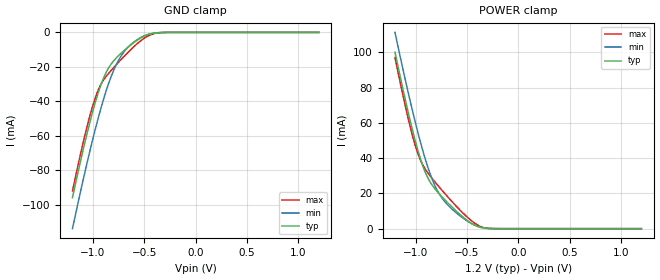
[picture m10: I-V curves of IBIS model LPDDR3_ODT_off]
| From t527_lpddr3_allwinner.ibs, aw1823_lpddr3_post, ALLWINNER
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|   Model LPDDR3_ODT_off
[Model] LPDDR3_ODT_off
Model_type Input
Polarity   Non-Inverting
Vinl =  0.600V
Vinh =  0.600V
C_comp   1.970pF   1.929pF   2.026pF
C_comp_pullup   1.247pF   1.225pF   1.255pF
C_comp_pulldown   0.603pF   0.485pF   0.766pF
[Model Spec]
Vinh   0.600V   0.570V   0.630V
Vinl   0.600V   0.570V   0.630V
[Temperature Range]   25.000   0.125k   -40.000
[Voltage Range]   1.200V   1.140V   1.260V
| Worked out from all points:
|   GND clamp passes 1 mA (typ) near -0.45 V on its own axis
|   POWER clamp passes 1 mA (typ) near -0.38 V on its own axis
[GND_clamp]
|Voltage   I(typ)   I(min)   I(max)
-1.2V     -95.73mA   -113.7mA   -91.89mA
-1.1V     -68.95mA   -86.51mA   -64.84mA
-1.025V   -50.74mA   -67.37mA   -47.06mA
-950mV    -35.1mA    -49.78mA   -33.48mA
-900mV    -26.83mA   -39.23mA   -27.79mA
-825mV    -18.46mA   -25.81mA   -22.14mA
-750mV    -13.41mA   -15.98mA   -17.2mA
-675mV    -9.342mA   -9.629mA   -12.51mA
-600mV    -5.766mA   -5.48mA    -8.156mA
-475mV    -1.482mA   -1.412mA   -2.402mA
-350mV    -108.6uA   -148.6uA   -181uA
1.2V      0A         0A         0A
[POWER_clamp]
|Voltage   I(typ)   I(min)   I(max)
-1.2V     100.2mA    111.4mA    97.13mA
-1.1V     73.3mA     84.65mA    69.74mA
-1.025V   54.87mA    65.84mA    51.77mA
-975mV    44.01mA    54.17mA    42.28mA
-925mV    34.95mA    43.45mA    35.71mA
-850mV    25.74mA    29.9mA     29.38mA
-775mV    20.11mA    20.35mA    24.04mA
-700mV    15.48mA    14.34mA    18.95mA
-575mV    8.482mA    7.639mA    11.02mA
-425mV    2.019mA    2.056mA    3.164mA
-300mV    129uA      244.9uA    195uA
1.2V      0A         0A         0A
